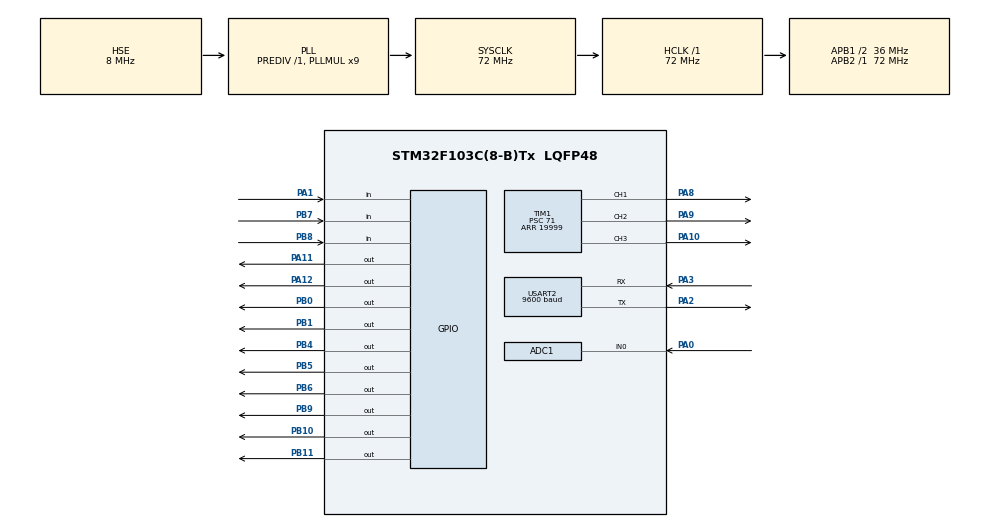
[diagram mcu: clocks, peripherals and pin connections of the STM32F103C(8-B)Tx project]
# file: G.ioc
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ADC1.Channel-0\#ChannelRegularConversion=ADC_CHANNEL_0
ADC1.NbrOfConversionFlag=1
ADC1.Rank-0\#ChannelRegularConversion=1
ADC1.SamplingTime-0\#ChannelRegularConversion=ADC_SAMPLETIME_239CYCLES_5
ADC1.master=1
Mcu.Family=STM32F1
Mcu.Name=STM32F103C(8-B)Tx
Mcu.Package=LQFP48
NVIC.PriorityGroup=NVIC_PRIORITYGROUP_4
NVIC.USART2_IRQn=true\:0\:0\:false\:false\:true\:true\:true\:true
PA0-WKUP.Signal=ADCx_IN0
PA1.Signal=GPIO_Input
PA10.Signal=S_TIM1_CH3
PA11.GPIO_ModeDefaultOutputPP=GPIO_MODE_OUTPUT_PP
PA11.GPIO_PuPd=GPIO_NOPULL
PA11.GPIO_Speed=GPIO_SPEED_FREQ_HIGH
PA11.PinState=GPIO_PIN_RESET
PA11.Signal=GPIO_Output
PA12.GPIO_ModeDefaultOutputPP=GPIO_MODE_OUTPUT_PP
PA12.GPIO_PuPd=GPIO_NOPULL
PA12.GPIO_Speed=GPIO_SPEED_FREQ_HIGH
PA12.PinState=GPIO_PIN_RESET
PA12.Signal=GPIO_Output
PA13.Mode=Serial_Wire
PA13.Signal=SYS_JTMS-SWDIO
PA14.Mode=Serial_Wire
PA14.Signal=SYS_JTCK-SWCLK
PA2.Mode=Asynchronous
PA2.Signal=USART2_TX
PA3.Mode=Asynchronous
PA3.Signal=USART2_RX
PA8.Signal=S_TIM1_CH1
PA9.Signal=S_TIM1_CH2
PB0.GPIO_ModeDefaultOutputPP=GPIO_MODE_OUTPUT_PP
PB0.GPIO_PuPd=GPIO_NOPULL
PB0.GPIO_Speed=GPIO_SPEED_FREQ_HIGH
PB0.PinState=GPIO_PIN_RESET
PB0.Signal=GPIO_Output
PB1.GPIO_ModeDefaultOutputPP=GPIO_MODE_OUTPUT_PP
PB1.GPIO_PuPd=GPIO_NOPULL
PB1.GPIO_Speed=GPIO_SPEED_FREQ_HIGH
PB1.PinState=GPIO_PIN_RESET
PB1.Signal=GPIO_Output
PB10.GPIO_ModeDefaultOutputPP=GPIO_MODE_OUTPUT_PP
PB10.GPIO_PuPd=GPIO_NOPULL
PB10.GPIO_Speed=GPIO_SPEED_FREQ_HIGH
PB10.PinState=GPIO_PIN_RESET
PB10.Signal=GPIO_Output
PB11.GPIO_ModeDefaultOutputPP=GPIO_MODE_OUTPUT_PP
PB11.GPIO_PuPd=GPIO_NOPULL
PB11.GPIO_Speed=GPIO_SPEED_FREQ_HIGH
PB11.PinState=GPIO_PIN_RESET
PB11.Signal=GPIO_Output
PB4.GPIO_ModeDefaultOutputPP=GPIO_MODE_OUTPUT_PP
PB4.GPIO_PuPd=GPIO_NOPULL
PB4.GPIO_Speed=GPIO_SPEED_FREQ_HIGH
PB4.PinState=GPIO_PIN_RESET
PB4.Signal=GPIO_Output
PB5.GPIO_ModeDefaultOutputPP=GPIO_MODE_OUTPUT_PP
PB5.GPIO_PuPd=GPIO_NOPULL
PB5.GPIO_Speed=GPIO_SPEED_FREQ_HIGH
PB5.PinState=GPIO_PIN_RESET
PB5.Signal=GPIO_Output
PB6.GPIO_ModeDefaultOutputPP=GPIO_MODE_OUTPUT_PP
PB6.GPIO_PuPd=GPIO_NOPULL
PB6.GPIO_Speed=GPIO_SPEED_FREQ_HIGH
PB6.PinState=GPIO_PIN_RESET
PB6.Signal=GPIO_Output
PB7.GPIO_Mode=GPIO_MODE_INPUT
PB7.GPIO_PuPd=GPIO_NOPULL
PB7.Signal=GPIO_Input
PB8.GPIO_Mode=GPIO_MODE_INPUT
PB8.GPIO_PuPd=GPIO_NOPULL
PB8.Signal=GPIO_Input
PB9.GPIO_Speed=GPIO_SPEED_FREQ_HIGH
PB9.Signal=GPIO_Output
PD0-OSC_IN.Mode=HSE-External-Oscillator
PD0-OSC_IN.Signal=RCC_OSC_IN
PD1-OSC_OUT.Mode=HSE-External-Oscillator
PD1-OSC_OUT.Signal=RCC_OSC_OUT
ProjectManager.HeapSize=0x200
ProjectManager.StackSize=0x400
ProjectManager.TargetToolchain=MDK-ARM V5.32
RCC.ADCPresc=RCC_ADCPCLK2_DIV6
RCC.AHBFreq_Value=72000000
RCC.APB1CLKDivider=RCC_HCLK_DIV2
RCC.APB1Freq_Value=36000000
RCC.APB1TimFreq_Value=72000000
RCC.APB2Freq_Value=72000000
RCC.APB2TimFreq_Value=72000000
RCC.HCLKFreq_Value=72000000
RCC.PLLMUL=RCC_PLL_MUL9
RCC.PLLSourceVirtual=RCC_PLLSOURCE_HSE
RCC.SYSCLKFreq_VALUE=72000000
RCC.SYSCLKSource=RCC_SYSCLKSOURCE_PLLCLK
RCC.USBFreq_Value=72000000
SH.ADCx_IN0.0=ADC1_IN0,IN0
SH.S_TIM1_CH1.0=TIM1_CH1,PWM Generation1 CH1
SH.S_TIM1_CH2.0=TIM1_CH2,PWM Generation2 CH2
SH.S_TIM1_CH3.0=TIM1_CH3,PWM Generation3 CH3
TIM1.AutoReloadPreload=TIM_AUTORELOAD_PRELOAD_ENABLE
TIM1.Channel-PWM\ Generation1\ CH1=TIM_CHANNEL_1
TIM1.Channel-PWM\ Generation2\ CH2=TIM_CHANNEL_2
TIM1.Channel-PWM\ Generation3\ CH3=TIM_CHANNEL_3
TIM1.Period=19999
TIM1.Prescaler=71
TIM1.Pulse-PWM\ Generation1\ CH1=440
TIM1.Pulse-PWM\ Generation2\ CH2=440
TIM1.Pulse-PWM\ Generation3\ CH3=440
USART2.BaudRate=9600
USART2.VirtualMode=VM_ASYNC
VP_TIM1_VS_ClockSourceINT.Mode=Internal
board=custom

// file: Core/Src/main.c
/* USER CODE BEGIN Header */
/**
  ******************************************************************************
  * @file           : main.c
  * @brief          : Main program body
  ******************************************************************************
  * @attention
  *
  * Copyright (c) 2025 STMicroelectronics.
  * All rights reserved.
  *
  * This software is licensed under terms that can be found in the LICENSE file
  * in the root directory of this software component.
  * If no LICENSE file comes with this software, it is provided AS-IS.
  *
  ******************************************************************************
  */
/* USER CODE END Header */
#include "main.h"
#include "adc.h"
#include "tim.h"
#include "usart.h"
#include "gpio.h"
#include "oled.h"
#include "sg90.h"
#include "uln2003.h"
#include "bt04a.h"
#include "rc522.h"
#include "stdio.h"
#include "string.h"

/* USER CODE BEGIN PD */
void OLED_Poce(void);
void DATA_Poce(void);
/* USER CODE END PD */

void SystemClock_Config(void);

/* USER CODE BEGIN 0 */
extern volatile float ADC_VAL;

uint8_t oled[100] = {0};
char status;
uint8_t cardType[2];
uint8_t uid_0[4] = {0x00,0x00,0x00,0x00};
uint8_t uid_1[4] = {0x44,0x4C,0x3F,0x2D};
uint8_t uid_2[4] = {0x14,0x16,0x3A,0x2D};
uint8_t uid_3[4] = {0xF4,0x7E,0x65,0x2D};
//目的地完成标志位
uint8_t start_flag = 0;
//显示目的地标志位
uint8_t oled_flag = 0;
//电机启动标志位
uint8_t yj45_enable = 0;
uint8_t yj45_num = 0;
//目的地计数
uint8_t num1 = 0;
uint8_t num2 = 0;
uint8_t num3 = 0;
/* USER CODE END 0 */

int main(void)
{

  /* MCU Configuration--------------------------------------------------------*/

  /* Reset of all peripherals, Initializes the Flash interface and the Systick. */
  HAL_Init();

  /* Configure the system clock */
  SystemClock_Config();

  /* Initialize all configured peripherals */
  MX_GPIO_Init();
  MX_ADC1_Init();
  MX_TIM1_Init();
  MX_USART2_UART_Init();
	HAL_TIM_PWM_Start(&htim1,TIM_CHANNEL_1);
	HAL_TIM_PWM_Start(&htim1,TIM_CHANNEL_2);
	HAL_TIM_PWM_Start(&htim1,TIM_CHANNEL_3);
  /* USER CODE BEGIN 2 */
	OLED_Init();
	BT04A_Init();
	OLED_Clear();
	DWT_Init();
	RC522_Init();
  /* USER CODE END 2 */
  /* Infinite loop */
  while (1)
  {
		DATA_Poce();
		OLED_Poce();
  }
}

void SystemClock_Config(void)
{
  RCC_OscInitTypeDef RCC_OscInitStruct = {0};
  RCC_ClkInitTypeDef RCC_ClkInitStruct = {0};
  RCC_PeriphCLKInitTypeDef PeriphClkInit = {0};

  /** Initializes the RCC Oscillators according to the specified parameters
  * in the RCC_OscInitTypeDef structure.
  */
  RCC_OscInitStruct.OscillatorType = RCC_OSCILLATORTYPE_HSE;
  RCC_OscInitStruct.HSEState = RCC_HSE_ON;
  RCC_OscInitStruct.HSEPredivValue = RCC_HSE_PREDIV_DIV1;
  RCC_OscInitStruct.HSIState = RCC_HSI_ON;
  RCC_OscInitStruct.PLL.PLLState = RCC_PLL_ON;
  RCC_OscInitStruct.PLL.PLLSource = RCC_PLLSOURCE_HSE;
  RCC_OscInitStruct.PLL.PLLMUL = RCC_PLL_MUL9;
  if (HAL_RCC_OscConfig(&RCC_OscInitStruct) != HAL_OK)
  {
    Error_Handler();
  }

  /** Initializes the CPU, AHB and APB buses clocks
  */
  RCC_ClkInitStruct.ClockType = RCC_CLOCKTYPE_HCLK|RCC_CLOCKTYPE_SYSCLK
                              |RCC_CLOCKTYPE_PCLK1|RCC_CLOCKTYPE_PCLK2;
  RCC_ClkInitStruct.SYSCLKSource = RCC_SYSCLKSOURCE_PLLCLK;
  RCC_ClkInitStruct.AHBCLKDivider = RCC_SYSCLK_DIV1;
  RCC_ClkInitStruct.APB1CLKDivider = RCC_HCLK_DIV2;
  RCC_ClkInitStruct.APB2CLKDivider = RCC_HCLK_DIV1;

  if (HAL_RCC_ClockConfig(&RCC_ClkInitStruct, FLASH_LATENCY_2) != HAL_OK)
  {
    Error_Handler();
  }
  PeriphClkInit.PeriphClockSelection = RCC_PERIPHCLK_ADC;
  PeriphClkInit.AdcClockSelection = RCC_ADCPCLK2_DIV6;
  if (HAL_RCCEx_PeriphCLKConfig(&PeriphClkInit) != HAL_OK)
  {
    Error_Handler();
  }
}

/* USER CODE BEGIN 4 */
void DATA_Poce(void)
{
	adc_read();
	BT04A_DATA_Pro();
	status = RC522_PcdRequest(PICC_REQIDL, cardType);
	if (status == MI_OK)
	{
		 status = RC522_PcdAnticoll(uid_0);
		 if (status == MI_OK)
		 {
			 if(memcmp(uid_0,uid_1,4) == 0)
			 {
				 yj45_enable = 1;
				 oled_flag = 1;
			 }
			 else if(memcmp(uid_0,uid_2,4) == 0)
			 {
				 yj45_enable = 1;
				 oled_flag = 2;
			 }
			 else if(memcmp(uid_0,uid_3,4) == 0)
			 {
				 yj45_enable = 1;
				 oled_flag = 3;
			 }
			 else
			 {
				 yj45_enable = 0;
				 yj45_num = 0;
				 oled_flag = 0;
				 HAL_GPIO_WritePin(GPIOB,GPIO_PIN_0,GPIO_PIN_RESET);
			 	 HAL_GPIO_WritePin(GPIOB,GPIO_PIN_1,GPIO_PIN_RESET);
				 HAL_GPIO_WritePin(GPIOB,GPIO_PIN_10,GPIO_PIN_RESET);
				 HAL_GPIO_WritePin(GPIOB,GPIO_PIN_11,GPIO_PIN_RESET);
			 }
			 RC522_PcdHalt();
		 }
	}
	if(yj45_enable != 0)
	{
		YJ45_Start();
		if(ADC_VAL < 0.5f)
		{
			switch(oled_flag)
			{
				case 1:
				{
					Servo_SetAngle(1,180);
					HAL_Delay(300);
					Servo_SetAngle(1,0);
					yj45_enable = 0;
					uid_0[0] = uid_0[1] = uid_0[2] = uid_0[3] = NULL;
					oled_flag = 0;
					num1++;
					break;
				}
				case 2:
				{
					Servo_SetAngle(2,180);
					HAL_Delay(300);
					Servo_SetAngle(2,0);
					yj45_enable = 0;
					uid_0[0] = uid_0[1] = uid_0[2] = uid_0[3] = NULL;
					oled_flag = 0;
					num2++;
					break;
				}
				case 3:
				{
					Servo_SetAngle(3,180);
					HAL_Delay(300);
					Servo_SetAngle(3,0);
					yj45_enable = 0;
					uid_0[0] = uid_0[1] = uid_0[2] = uid_0[3] = NULL;
					oled_flag = 0;
					num3++;
					break;
				}
			}
		}
	}
}

void OLED_Poce(void)
{
	//目标地点显示
	OLED_ShowChinese(0,0,37,16,1);
	OLED_ShowChinese(16,0,38,16,1);
	OLED_ShowChinese(32,0,39,16,1);
	OLED_ShowChar(48,0,':',16,1);
	switch(oled_flag)
	{
		case 0:
		{
			OLED_ShowChinese(56,0,23,16,1);
			break;
		}
		case 1:
		{
			OLED_ShowChinese(56,0,42,16,1);
			break;
		}
		case 2:
		{
			OLED_ShowChinese(56,0,43,16,1);
			break;
		}
		case 3:
		{
			OLED_ShowChinese(56,0,44,16,1);
			break;
		}
	}
	//目标区域计数
	//区域一
	OLED_ShowChinese(0,16,37,16,1);
	OLED_ShowChinese(16,16,38,16,1);
	OLED_ShowChinese(32,16,39,16,1);
	OLED_ShowChinese(48,16,42,16,1);
	OLED_ShowChar(64,16,':',16,1);
	OLED_ShowNum(72,16,num1,2,16,1);
	//区域二
	OLED_ShowChinese(0,32,37,16,1);
	OLED_ShowChinese(16,32,38,16,1);
	OLED_ShowChinese(32,32,39,16,1);
	OLED_ShowChinese(48,32,43,16,1);
	OLED_ShowChar(64,32,':',16,1);
	OLED_ShowNum(72,32,num2,2,16,1);
	//区域三
	OLED_ShowChinese(0,48,37,16,1);
	OLED_ShowChinese(16,48,38,16,1);
	OLED_ShowChinese(32,48,39,16,1);
	OLED_ShowChinese(48,48,44,16,1);
	OLED_ShowChar(64,48,':',16,1);
	OLED_ShowNum(72,48,num3,2,16,1);
}
/* USER CODE END 4 */

void Error_Handler(void)
{
  __disable_irq();
  while (1)
  {
  }
}
